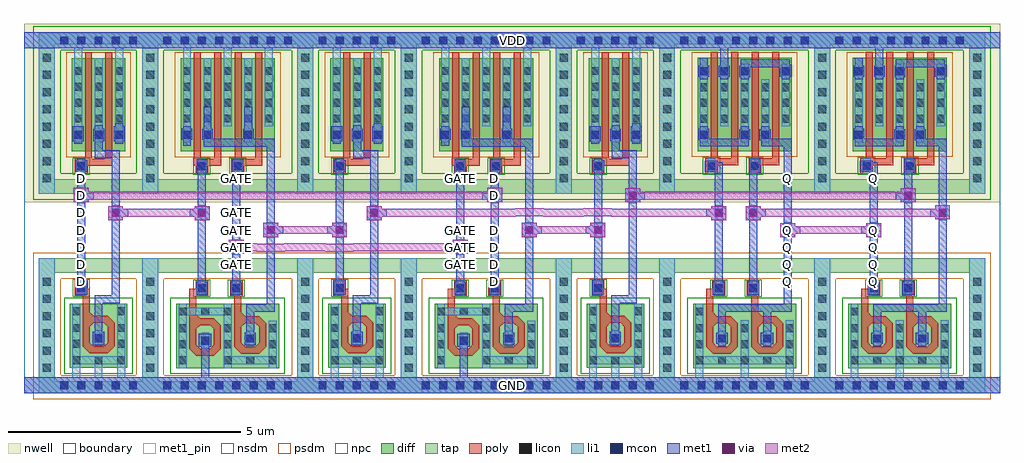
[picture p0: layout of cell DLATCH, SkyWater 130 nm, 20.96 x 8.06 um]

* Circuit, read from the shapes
.subckt DLATCH D GATE GND Q VDD
XM1 GND D n1 GND sky130_fd_pr__nfet_01v8 w=2.56 l=0.1477
XM2 n2 n1 GND GND sky130_fd_pr__nfet_01v8 w=2.6 l=0.147
XM3 n2 GATE n3 GND sky130_fd_pr__nfet_01v8 w=2.56 l=0.1471
XM4 GND n3 n4 GND sky130_fd_pr__nfet_01v8 w=2.56 l=0.1478
XM5 n5 GATE GND GND sky130_fd_pr__nfet_01v8 w=2.6 l=0.147
XM6 n5 D n6 GND sky130_fd_pr__nfet_01v8 w=2.56 l=0.1472
XM7 GND n6 n7 GND sky130_fd_pr__nfet_01v8 w=2.56 l=0.1478
XM8 GND n4 Q GND sky130_fd_pr__nfet_01v8 w=2.56 l=0.1455
XM9 GND n8 Q GND sky130_fd_pr__nfet_01v8 w=2.56 l=0.1471
XM10 GND Q n8 GND sky130_fd_pr__nfet_01v8 w=2.56 l=0.1455
XM11 GND n7 n8 GND sky130_fd_pr__nfet_01v8 w=2.56 l=0.1471
XM12 n1 D VDD VDD sky130_fd_pr__pfet_01v8 w=2 l=0.15 m=2
XM13 n3 n1 VDD VDD sky130_fd_pr__pfet_01v8 w=2 l=0.15 m=2
XM14 n3 GATE VDD VDD sky130_fd_pr__pfet_01v8 w=2 l=0.15 m=2
XM15 n4 n3 VDD VDD sky130_fd_pr__pfet_01v8 w=2 l=0.15 m=2
XM16 n6 GATE VDD VDD sky130_fd_pr__pfet_01v8 w=2 l=0.15 m=2
XM17 n6 D VDD VDD sky130_fd_pr__pfet_01v8 w=2 l=0.15 m=2
XM18 n7 n6 VDD VDD sky130_fd_pr__pfet_01v8 w=2 l=0.15 m=2
XM19 VDD n4 n9 VDD sky130_fd_pr__pfet_01v8 w=2 l=0.15 m=2
XM20 Q n8 n9 VDD sky130_fd_pr__pfet_01v8 w=2 l=0.15 m=2
XM21 VDD Q n10 VDD sky130_fd_pr__pfet_01v8 w=2 l=0.15 m=2
XM22 n8 n7 n10 VDD sky130_fd_pr__pfet_01v8 w=2 l=0.15 m=2
.ends

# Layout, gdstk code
from math import pi, radians
import gdstk
lib = gdstk.Library(unit=1e-6, precision=1e-09)
def R(c, l, rs):  # rectangles x0, y0, x1, y1
    for r in rs: c.add(gdstk.rectangle(r[:2], r[2:], *l))
def A(c, l, x, y, w, h, nx, ny, dx, dy):  # array of equal rectangles
    R(c, l, [(x+i*dx, y+j*dy, x+i*dx+w, y+j*dy+h) for i in range(nx) for j in range(ny)])
def P(c, l, *ps):  # polygons
    for p in ps: c.add(gdstk.Polygon(p, *l))
nwell = (64, 20)
diff = (65, 20)
tap = (65, 44)
poly = (66, 20)
licon = (66, 44)
li1 = (67, 20)
mcon = (67, 44)
met1_pin = (68, 16)
met1 = (68, 20)
via = (68, 44)
met2 = (69, 20)
nsdm = (93, 44)
psdm = (94, 20)
npc = (95, 20)
boundary = (235, 4)

diff_ring_side = lib.new_cell('diff_ring_side')
R(diff_ring_side, nwell, [(-0.435,3.93,0.435,7.75)])
R(diff_ring_side, tap, [(-0.17,-0.17,0.17,2.72), (-0.17,4.11,0.17,7.57)])
A(diff_ring_side, licon, -0.085, 0.285, 0.17, 0.17, 1, 6, 0, 0.37)
A(diff_ring_side, licon, -0.085, 4.355, 0.17, 0.17, 1, 8, 0, 0.37)
R(diff_ring_side, li1, [(-0.17,-0.17,0.17,2.72), (-0.17,4.11,0.17,7.57)])
R(diff_ring_side, met1, [(-0.17,-0.17,0.17,0.17), (-0.17,7.23,0.17,7.57)])
R(diff_ring_side, nsdm, [(-0.295,3.985,0.295,7.695)])
R(diff_ring_side, psdm, [(-0.295,-0.295,0.295,2.845)])

nmos_bottom = lib.new_cell('nmos_bottom')
R(nmos_bottom, diff, [(0,0,1.24,1.38)])
R(nmos_bottom, poly, [(0.43,0.27,0.81,0.42), (0.28,0.42,0.43,0.925), (0.81,0.42,0.96,0.925), (0.43,0.925,0.96,1.075), (0.81,1.075,0.96,1.51)])
P(nmos_bottom, poly, [(0.73,1.075),(0.81,1.075),(0.81,1.155)],
  [(0.28,0.925),(0.43,0.925),(0.43,1.075)],
  [(0.43,0.845),(0.43,0.925),(0.51,0.925)],
  [(0.73,0.925),(0.81,0.925),(0.81,0.845)],
  [(0.43,0.5),(0.43,0.42),(0.51,0.42)],
  [(0.73,0.42),(0.81,0.42),(0.81,0.5)],
  [(0.28,0.42),(0.43,0.42),(0.43,0.27)],
  [(0.81,0.27),(0.81,0.42),(0.96,0.42)])
A(nmos_bottom, licon, 0.05, 1.13, 0.17, 0.17, 3, 1, 0.485, 0)
R(nmos_bottom, licon, [(0.05,0.08,0.22,0.25), (1.02,0.08,1.19,0.25), (0.05,0.43,0.22,0.6), (1.02,0.43,1.19,0.6), (0.535,0.505,0.705,0.675), (0.05,0.77,0.22,0.94), (1.02,0.77,1.19,0.94)])
R(nmos_bottom, li1, [(0.05,0,0.22,1.13), (1.02,0,1.19,1.13), (0.535,0.425,0.705,0.755), (0.05,1.13,1.19,1.3), (0.05,1.3,0.22,1.38), (1.02,1.3,1.19,1.38)])
R(nmos_bottom, nsdm, [(-0.125,-0.125,1.365,1.505)])

pmos2 = lib.new_cell('pmos2')
R(pmos2, nwell, [(0.26,-2.18,1.76,0.18)])
R(pmos2, diff, [(0.44,-2,1.58,0)])
R(pmos2, poly, [(0.72,-2.305,1.31,-2.155), (0.72,-2.155,0.87,0.13), (1.16,-2.155,1.31,0.13)])
A(pmos2, licon, 0.49, -1.38, 0.17, 0.17, 3, 4, 0.44, 0.34)
R(pmos2, li1, [(0.49,-1.465,0.66,0.21), (0.93,-1.465,1.1,0), (1.37,-1.465,1.54,0.21)])
R(pmos2, psdm, [(0.315,-2.125,1.705,0.125)])

poly_li1_contact = lib.new_cell('poly_li1_contact')
R(poly_li1_contact, poly, [(-0.16,-0.14,0.17,0.13)])
R(poly_li1_contact, licon, [(-0.08,-0.09,0.09,0.08)])
R(poly_li1_contact, li1, [(-0.16,-0.09,0.17,0.08)])
R(poly_li1_contact, npc, [(-0.18,-0.19,0.19,0.18)])

nmos_top_trim1 = lib.new_cell('nmos_top_trim1')
R(nmos_top_trim1, diff, [(0,0,1.24,1.38)])
R(nmos_top_trim1, poly, [(0.43,0.31,0.81,0.46), (0.28,0.46,0.43,0.965), (0.81,0.46,0.96,0.965), (0.43,0.965,0.96,1.115), (0.81,1.115,0.96,1.545)])
P(nmos_top_trim1, poly, [(0.73,1.115),(0.81,1.115),(0.81,1.195)],
  [(0.28,0.965),(0.43,0.965),(0.43,1.115)],
  [(0.43,0.885),(0.43,0.965),(0.51,0.965)],
  [(0.73,0.965),(0.81,0.965),(0.81,0.885)],
  [(0.43,0.54),(0.43,0.46),(0.51,0.46)],
  [(0.73,0.46),(0.81,0.46),(0.81,0.54)],
  [(0.28,0.46),(0.43,0.46),(0.43,0.31)],
  [(0.81,0.31),(0.81,0.46),(0.96,0.46)])
A(nmos_top_trim1, licon, 0.05, 0.08, 0.17, 0.17, 3, 1, 0.485, 0)
R(nmos_top_trim1, licon, [(0.05,0.43,0.22,0.6), (1.02,0.43,1.19,0.6), (0.535,0.55,0.705,0.72), (0.05,0.77,0.22,0.94), (1.02,0.77,1.19,0.94), (1.02,1.13,1.19,1.3)])
R(nmos_top_trim1, li1, [(0.05,0,0.22,0.08), (1.02,0,1.19,0.08), (0.05,0.08,1.19,0.25), (0.05,0.25,0.22,1.02), (1.02,0.25,1.19,1.38), (0.535,0.47,0.705,0.805)])
R(nmos_top_trim1, nsdm, [(-0.125,-0.125,1.365,1.505)])

nand2x1_pcell = lib.new_cell('nand2x1_pcell')
R(nand2x1_pcell, nwell, [(0.435,3.93,2.895,7.75)])
R(nand2x1_pcell, diff, [(1.115,5.265,1.345,5.5), (1.995,5.265,2.225,5.5), (0.705,5.295,0.875,5.465)])
R(nand2x1_pcell, tap, [(0.17,-0.17,3.16,-0.15), (0.155,-0.15,3.175,0.085), (0.155,2.4,0.17,2.41), (3.16,2.4,3.175,2.41), (0.155,2.41,3.175,2.71), (0.17,2.71,3.16,2.72), (0.17,4.11,3.16,4.42), (0.17,7.315,3.16,7.57)])
R(nand2x1_pcell, poly, [(0.84,1.875,0.99,2.065), (1.81,1.91,1.96,1.915)])
A(nand2x1_pcell, licon, 0.285, -0.085, 0.17, 0.17, 8, 2, 0.37, 7.4)
R(nand2x1_pcell, licon, [(0.705,5.295,0.875,5.465), (1.145,5.295,1.315,5.465), (2.025,5.295,2.195,5.465)])
R(nand2x1_pcell, li1, [(0.165,-0.17,3.295,0.17), (1.095,0.87,1.265,1.04), (2.065,0.915,2.235,1.085), (1.025,1.995,1.195,2.165), (1.765,1.995,1.935,2.165), (1.025,4.615,1.195,4.785), (1.795,4.615,1.965,4.785), (0.705,5.215,0.875,5.61), (1.145,5.215,1.315,5.61), (2.025,5.215,2.195,5.61), (-0.17,7.23,3.17,7.57)])
A(nand2x1_pcell, mcon, 0.285, -0.085, 0.17, 0.17, 8, 2, 0.37, 7.4)
R(nand2x1_pcell, mcon, [(1.095,0.87,1.265,1.04), (2.065,0.915,2.235,1.085), (1.025,1.995,1.195,2.165), (1.765,1.995,1.935,2.165), (1.025,4.615,1.195,4.785), (1.795,4.615,1.965,4.785), (0.705,5.295,0.875,5.465), (1.145,5.295,1.315,5.465), (2.025,5.295,2.195,5.465)])
R(nand2x1_pcell, met1, [(-0.17,-0.17,3.5,0.17), (1.095,0.17,1.265,0.825), (1.045,0.825,1.31,1.1), (2.035,0.855,2.265,1.12), (2.065,1.12,2.235,1.57), (2.065,1.57,2.675,1.74), (2.505,1.74,2.675,5.115), (0.99,1.935,1.23,2.205), (1.735,1.935,1.97,2.205), (1.025,2.205,1.195,4.56), (1.765,2.205,1.935,4.555), (1.765,4.555,1.97,4.58), (0.995,4.56,1.23,4.845), (1.765,4.58,1.995,4.845), (1.145,5.115,2.675,5.265), (0.705,5.135,0.875,5.265), (0.675,5.265,0.905,5.5), (1.115,5.265,2.675,5.285), (1.115,5.285,1.345,5.5), (1.995,5.285,2.225,5.5), (0.705,5.5,0.875,5.555), (1.145,5.5,1.315,5.98), (2.025,5.5,2.195,5.98), (-0.17,7.23,3.5,7.57)])
R(nand2x1_pcell, nsdm, [(0.045,3.985,3.285,4.545), (0.045,7.19,3.285,7.695)])
R(nand2x1_pcell, psdm, [(0.045,-0.295,3.285,-0.275), (0.03,-0.275,3.3,0.21), (0.03,2.275,0.295,2.285), (3.035,2.275,3.3,2.285), (0.03,2.285,3.3,2.835), (0.045,2.835,3.285,2.845), (0.99,5.14,1.47,5.17), (1.87,5.14,2.35,5.625), (0.58,5.17,1.47,5.59), (0.99,5.59,1.47,5.625)])
nand2x1_pcell.add(gdstk.Reference(diff_ring_side, (0,0)))
nand2x1_pcell.add(gdstk.Reference(nmos_bottom, (1.8,0.365), rotation=pi, x_reflection=True))
nand2x1_pcell.add(gdstk.Reference(pmos2, (0.215,7.02)))
nand2x1_pcell.add(gdstk.Reference(poly_li1_contact, (1.115,4.705), rotation=3*pi/2))
nand2x1_pcell.add(gdstk.Reference(poly_li1_contact, (1.115,2.085), rotation=3*pi/2))
nand2x1_pcell.add(gdstk.Reference(nmos_top_trim1, (2.77,0.365), rotation=pi, x_reflection=True))
nand2x1_pcell.add(gdstk.Reference(pmos2, (1.095,7.02)))
nand2x1_pcell.add(gdstk.Reference(poly_li1_contact, (1.845,2.075), rotation=pi/2))
nand2x1_pcell.add(gdstk.Reference(poly_li1_contact, (1.885,4.705), rotation=3*pi/2))
nand2x1_pcell.add(gdstk.Reference(diff_ring_side, (3.33,0)))

li1_m1_contact = lib.new_cell('li1_M1_contact')
R(li1_m1_contact, li1, [(-0.085,-0.165,0.085,0.165)])
R(li1_m1_contact, mcon, [(-0.085,-0.085,0.085,0.085)])
R(li1_m1_contact, met1, [(-0.115,-0.115,0.115,-0.085), (-0.265,-0.085,0.145,0.085), (-0.115,0.085,0.115,0.115)])

nmos_top = lib.new_cell('nmos_top')
R(nmos_top, diff, [(0,0,1.23,1.38)])
R(nmos_top, poly, [(0.42,0.31,0.8,0.46), (0.27,0.46,0.42,0.965), (0.8,0.46,0.95,0.965), (0.42,0.965,0.95,1.115), (0.8,1.115,0.95,1.54)])
P(nmos_top, poly, [(0.72,1.115),(0.8,1.115),(0.8,1.195)],
  [(0.27,0.965),(0.42,0.965),(0.42,1.115)],
  [(0.42,0.885),(0.42,0.965),(0.5,0.965)],
  [(0.72,0.965),(0.8,0.965),(0.8,0.885)],
  [(0.42,0.54),(0.42,0.46),(0.5,0.46)],
  [(0.72,0.46),(0.8,0.46),(0.8,0.54)],
  [(0.27,0.46),(0.42,0.46),(0.42,0.31)],
  [(0.8,0.31),(0.8,0.46),(0.95,0.46)])
R(nmos_top, licon, [(0.04,0.08,0.21,0.25), (0.53,0.08,0.7,0.25), (1.01,0.08,1.18,0.25), (0.04,0.43,0.21,0.6), (1.01,0.43,1.18,0.6), (0.53,0.55,0.7,0.72), (0.04,0.77,0.21,0.94), (1.01,0.77,1.18,0.94), (0.04,1.13,0.21,1.3), (1.01,1.13,1.18,1.3)])
R(nmos_top, li1, [(0.04,0,0.21,0.08), (1.01,0,1.18,0.08), (0.04,0.08,1.18,0.25), (0.04,0.25,0.21,1.38), (1.01,0.25,1.18,1.38), (0.53,0.47,0.7,0.805)])
R(nmos_top, nsdm, [(-0.125,-0.125,1.355,1.505)])

invx1_pcell = lib.new_cell('invx1_pcell')
R(invx1_pcell, nwell, [(-0.435,3.93,2.655,7.75)])
A(invx1_pcell, diff, 0.59, 5.295, 0.17, 0.17, 3, 1, 0.44, 0)
R(invx1_pcell, tap, [(0.17,-0.17,2.05,0.085), (0.17,2.41,2.05,2.72), (0.17,4.11,2.05,4.42), (0.17,7.315,2.05,7.57)])
R(invx1_pcell, poly, [(0.775,1.905,0.925,2.065)])
A(invx1_pcell, licon, 0.285, -0.085, 0.17, 0.17, 5, 2, 0.37, 7.4)
A(invx1_pcell, licon, 0.59, 5.295, 0.17, 0.17, 3, 1, 0.44, 0)
A(invx1_pcell, li1, 0.59, 5.215, 0.17, 0.37, 3, 1, 0.44, 0)
R(invx1_pcell, li1, [(-0.17,-0.17,2.33,0.17), (0.545,0.17,0.715,0.42), (1.025,0.17,1.195,0.45), (1.515,0.17,1.685,0.45), (1.025,0.92,1.195,1.09), (0.655,2,0.825,2.17), (0.655,4.615,0.825,4.785), (-0.17,7.23,2.39,7.57)])
A(invx1_pcell, mcon, 0.285, -0.085, 0.17, 0.17, 5, 2, 0.37, 7.4)
A(invx1_pcell, mcon, 0.59, 5.295, 0.17, 0.17, 3, 1, 0.44, 0)
R(invx1_pcell, mcon, [(1.025,0.92,1.195,1.09), (0.655,2,0.825,2.17), (0.655,4.615,0.825,4.785)])
R(invx1_pcell, met1, [(-0.17,-0.17,2.39,0.17), (0.99,0.86,1.23,1.15), (1.025,1.15,1.195,1.755), (1.025,1.755,1.565,1.925), (1.395,1.925,1.565,4.875), (0.615,1.94,0.865,2.25), (0.655,2.25,0.825,4.58), (0.62,4.58,0.87,4.83), (0.655,4.83,0.825,4.865), (1.03,4.875,1.565,5.045), (1.03,5.045,1.2,5.24), (0.59,5.185,0.76,5.24), (1.47,5.185,1.64,5.24), (0.56,5.24,0.795,5.555), (1,5.24,1.23,5.505), (1.44,5.24,1.675,5.555), (1.03,5.505,1.2,5.575), (1.47,5.555,1.64,5.62), (-0.17,7.23,2.39,7.57)])
R(invx1_pcell, nsdm, [(0.045,3.985,2.175,4.545), (0.045,7.19,2.175,7.695)])
R(invx1_pcell, psdm, [(0.045,-0.295,2.175,0.21), (0.045,2.285,2.175,2.845), (0.465,5.17,1.765,5.59)])
invx1_pcell.add(gdstk.Reference(poly_li1_contact, (0.735,2.08), rotation=pi/2))
invx1_pcell.add(gdstk.Reference(poly_li1_contact, (0.745,4.705), rotation=3*pi/2))
invx1_pcell.add(gdstk.Reference(pmos2, (0.1,7.02)))
invx1_pcell.add(gdstk.Reference(nmos_top, (1.725,0.37), rotation=pi, x_reflection=True))
invx1_pcell.add(gdstk.Reference(diff_ring_side, (0,0)))
invx1_pcell.add(gdstk.Reference(diff_ring_side, (2.22,0)))

and2x1_pcell = lib.new_cell('and2x1_pcell')
R(and2x1_pcell, met1, [(2.43,3.17,2.75,3.49), (3.905,3.17,4.225,3.49)])
R(and2x1_pcell, via, [(2.515,3.255,2.665,3.405), (3.99,3.255,4.14,3.405)])
R(and2x1_pcell, met2, [(2.43,3.17,2.75,3.245), (3.905,3.17,4.225,3.245), (2.43,3.245,4.225,3.415), (2.43,3.415,2.75,3.49), (3.905,3.415,4.225,3.49)])
and2x1_pcell.add(gdstk.Reference(nand2x1_pcell, (0,0)))
and2x1_pcell.add(gdstk.Reference(li1_m1_contact, (4.07,3.33)))
and2x1_pcell.add(gdstk.Reference(li1_m1_contact, (2.59,3.33), rotation=pi))
and2x1_pcell.add(gdstk.Reference(invx1_pcell, (3.33,0)))

pmos2_1 = lib.new_cell('pmos2_1')
R(pmos2_1, nwell, [(0.26,-2.175,1.76,0.185)])
R(pmos2_1, diff, [(0.44,-1.995,1.58,0.005)])
R(pmos2_1, poly, [(0.72,-2.3,1.31,-2.15), (0.72,-2.15,0.87,0.135), (1.16,-2.15,1.31,0.135)])
A(pmos2_1, licon, 0.49, -1.385, 0.17, 0.17, 3, 3, 0.44, 0.34)
A(pmos2_1, li1, 0.49, -1.465, 0.17, 1.01, 3, 1, 0.44, 0)
R(pmos2_1, psdm, [(0.315,-2.12,1.705,0.13)])

nmos_top_trim2 = lib.new_cell('nmos_top_trim2')
R(nmos_top_trim2, diff, [(0,0,1.24,1.38)])
R(nmos_top_trim2, poly, [(0.43,0.31,0.81,0.46), (0.28,0.46,0.43,0.89), (0.81,0.46,0.96,0.89), (0.28,0.89,0.435,0.965), (0.805,0.89,0.96,0.965), (0.43,0.965,0.96,1.115), (0.81,1.115,0.96,1.545)])
P(nmos_top_trim2, poly, [(0.73,1.115),(0.81,1.115),(0.81,1.195)],
  [(0.28,0.965),(0.43,0.965),(0.43,1.115)],
  [(0.435,0.89),(0.435,0.965),(0.51,0.965)],
  [(0.73,0.965),(0.805,0.965),(0.805,0.89)],
  [(0.43,0.54),(0.43,0.46),(0.51,0.46)],
  [(0.73,0.46),(0.81,0.46),(0.81,0.54)],
  [(0.28,0.46),(0.43,0.46),(0.43,0.31)],
  [(0.81,0.31),(0.81,0.46),(0.96,0.46)])
A(nmos_top_trim2, licon, 0.05, 0.08, 0.17, 0.17, 3, 1, 0.485, 0)
R(nmos_top_trim2, licon, [(0.05,0.43,0.22,0.6), (1.02,0.43,1.19,0.6), (0.535,0.55,0.705,0.72), (0.05,0.77,0.22,0.94), (1.02,0.77,1.19,0.94)])
R(nmos_top_trim2, li1, [(0.05,0,0.22,0.08), (1.02,0,1.19,0.08), (0.05,0.08,1.19,0.25), (0.05,0.25,0.22,1.025), (1.02,0.25,1.19,1.025), (0.535,0.47,0.705,0.805)])
R(nmos_top_trim2, nsdm, [(-0.125,-0.125,1.365,1.505)])

nor2x1_pcell = lib.new_cell('nor2x1_pcell')
R(nor2x1_pcell, nwell, [(0.435,3.93,2.895,7.75)])
A(nor2x1_pcell, diff, 0.705, 6.655, 0.17, 0.17, 3, 1, 0.44, 0)
R(nor2x1_pcell, diff, [(0.705,5.215,0.875,5.465), (1.585,5.215,1.755,5.25), (2.025,5.215,2.195,5.25), (1.585,5.295,1.755,5.465), (2.025,5.295,2.195,5.465), (2.465,6.655,2.635,6.825)])
R(nor2x1_pcell, tap, [(0.17,-0.17,3.16,0.085), (0.17,2.41,3.16,2.72), (0.17,4.11,3.16,4.42), (0.17,7.315,3.16,7.57)])
R(nor2x1_pcell, poly, [(0.84,1.875,0.99,2.065), (1.81,1.91,1.96,1.915)])
A(nor2x1_pcell, licon, 0.285, -0.085, 0.17, 0.17, 8, 2, 0.37, 7.4)
A(nor2x1_pcell, licon, 0.705, 6.655, 0.17, 0.17, 3, 1, 0.44, 0)
R(nor2x1_pcell, licon, [(0.705,5.295,0.875,5.465), (1.585,5.295,1.755,5.465), (2.025,5.295,2.195,5.465), (2.465,6.655,2.635,6.825)])
R(nor2x1_pcell, li1, [(0.165,-0.17,3.285,0.17), (0.61,0.17,0.78,0.785), (1.58,0.17,1.75,0.445), (2.55,0.17,2.72,0.445), (1.095,0.915,1.265,1.085), (2.065,0.915,2.235,1.085), (1.025,1.995,1.195,2.165), (1.765,1.995,1.935,2.165), (0.87,4.62,1.04,4.79), (1.8,4.62,1.97,4.79), (0.705,5.215,0.875,5.975), (1.585,5.215,1.755,5.975), (2.025,5.215,2.195,5.975), (1.145,6.145,1.315,7.025), (1.585,6.145,1.755,6.905), (2.465,6.145,2.635,6.905), (0.705,6.56,0.875,7.025), (-0.17,7.23,3.335,7.57)])
A(nor2x1_pcell, mcon, 0.285, -0.085, 0.17, 0.17, 8, 2, 0.37, 7.4)
A(nor2x1_pcell, mcon, 0.705, 6.655, 0.17, 0.17, 3, 1, 0.44, 0)
R(nor2x1_pcell, mcon, [(1.095,0.915,1.265,1.085), (2.065,0.915,2.235,1.085), (1.025,1.995,1.195,2.165), (1.765,1.995,1.935,2.165), (0.87,4.62,1.04,4.79), (1.8,4.62,1.97,4.79), (0.705,5.295,0.875,5.465), (1.585,5.295,1.755,5.465), (2.025,5.295,2.195,5.465), (2.465,6.655,2.635,6.825)])
R(nor2x1_pcell, met1, [(0.17,-0.17,3.16,0.17), (1.095,0.835,1.265,0.885), (2.065,0.835,2.235,0.88), (2.015,0.88,2.28,1.12), (1.055,0.885,1.3,1.125), (2.065,1.12,2.235,1.57), (1.095,1.125,1.265,1.57), (1.095,1.57,2.675,1.74), (2.505,1.74,2.675,5.125), (0.985,1.935,1.23,2.215), (1.72,1.935,1.975,2.215), (1.025,2.215,1.195,4.585), (1.765,2.215,1.935,4.56), (1.765,4.56,2.005,4.855), (0.81,4.585,1.195,4.79), (0.81,4.79,1.085,4.82), (0.705,5.125,1.755,5.265), (2.025,5.125,2.675,5.26), (1.985,5.26,2.675,5.295), (0.675,5.265,1.79,5.295), (0.675,5.295,0.905,5.5), (1.55,5.295,1.79,5.495), (1.985,5.295,2.225,5.495), (1.585,5.495,1.755,5.555), (2.025,5.495,2.195,5.555), (0.705,5.5,0.875,5.555), (0.705,6.565,0.875,6.625), (1.145,6.565,1.315,6.625), (1.585,6.565,1.755,6.615), (2.465,6.565,2.635,6.62), (1.555,6.615,1.785,6.825), (2.42,6.62,2.665,6.825), (0.675,6.625,0.905,6.86), (1.115,6.625,1.345,6.855), (1.555,6.825,2.665,6.855), (1.145,6.855,1.315,7.23), (1.585,6.855,2.665,6.875), (0.705,6.86,0.875,7.025), (1.585,6.875,2.635,6.995), (0.17,7.23,3.16,7.57)])
R(nor2x1_pcell, nsdm, [(0.045,3.985,3.285,4.545), (0.045,7.19,3.285,7.695)])
R(nor2x1_pcell, psdm, [(0.045,-0.295,3.285,0.21), (0.045,2.285,3.285,2.845), (0.58,5.09,1,5.59), (1.46,5.09,2.32,5.59), (0.58,6.53,1.88,6.95), (2.34,6.53,2.76,6.95)])
nor2x1_pcell.add(gdstk.Reference(diff_ring_side, (0,0)))
nor2x1_pcell.add(gdstk.Reference(nmos_top_trim1, (1.8,0.365), rotation=pi, x_reflection=True))
nor2x1_pcell.add(gdstk.Reference(pmos2_1, (0.215,7.02)))
nor2x1_pcell.add(gdstk.Reference(poly_li1_contact, (0.96,4.71), rotation=3*pi/2))
nor2x1_pcell.add(gdstk.Reference(poly_li1_contact, (1.115,2.085), rotation=3*pi/2))
nor2x1_pcell.add(gdstk.Reference(nmos_top_trim2, (2.77,0.365), rotation=pi, x_reflection=True))
nor2x1_pcell.add(gdstk.Reference(pmos2_1, (1.095,7.02)))
nor2x1_pcell.add(gdstk.Reference(poly_li1_contact, (1.845,2.075), rotation=pi/2))
nor2x1_pcell.add(gdstk.Reference(poly_li1_contact, (1.89,4.71), rotation=3*pi/2))
nor2x1_pcell.add(gdstk.Reference(diff_ring_side, (3.33,0)))

dlatch = lib.new_cell('DLATCH')
R(dlatch, nwell, [(0,4.11,20.96,7.94)])
R(dlatch, tap, [(0.32,0,20.64,0.05), (0.32,7.75,20.64,7.76)])
R(dlatch, li1, [(0,0,20.96,0.35), (0,7.41,20.96,7.76)])
A(dlatch, met1_pin, 1.145, 2.315, 0.17, 0.17, 1, 7, 0, 0.37)
A(dlatch, met1_pin, 10.025, 2.315, 0.17, 0.17, 1, 4, 0, 0.37)
A(dlatch, met1_pin, 16.315, 2.315, 0.17, 0.17, 1, 4, 0, 0.37)
A(dlatch, met1_pin, 18.165, 2.315, 0.17, 0.17, 1, 4, 0, 0.37)
A(dlatch, met1_pin, 4.475, 2.685, 0.17, 0.17, 1, 4, 0, 0.37)
A(dlatch, met1_pin, 9.285, 2.685, 0.17, 0.17, 1, 3, 0, 0.37)
R(dlatch, met1_pin, [(0,0,20.96,0.35), (10.025,4.165,10.195,4.335), (4.475,4.535,4.645,4.705), (9.285,4.535,9.455,4.705), (10.025,4.535,10.195,4.705), (16.315,4.535,16.485,4.705), (18.165,4.535,18.335,4.705), (0,7.41,20.96,7.76)])
A(dlatch, met1, 1.145, 2.315, 0.17, 0.17, 1, 5, 0, 0.37)
A(dlatch, met1, 10.025, 2.315, 0.17, 0.17, 1, 4, 0, 0.37)
A(dlatch, met1, 16.315, 2.315, 0.17, 0.17, 1, 3, 0, 0.37)
A(dlatch, met1, 18.165, 2.315, 0.17, 0.17, 1, 3, 0, 0.37)
R(dlatch, met1, [(0,0,20.96,0.35), (4.475,2.685,4.645,2.855), (9.285,2.685,9.455,2.855), (4.395,3,4.715,3.305), (9.21,3,9.53,3.305), (16.24,3.35,16.56,3.655), (18.09,3.35,18.41,3.655), (4.475,3.425,4.645,3.595), (9.285,3.425,9.455,3.595), (1.805,3.72,2.125,4.025), (3.67,3.72,3.99,4.025), (7.36,3.72,7.68,4.025), (14.76,3.72,15.08,4.025), (15.5,3.72,15.82,4.025), (19.565,3.74,19.885,4.045), (4.475,3.795,4.645,3.965), (12.91,4.105,13.23,4.41), (18.83,4.105,19.15,4.41), (1.07,4.11,1.39,4.415), (9.95,4.11,10.27,4.415), (1.145,4.535,1.315,4.705), (4.475,4.535,4.645,4.705), (9.285,4.535,9.455,4.705), (10.025,4.535,10.195,4.705), (16.315,4.535,16.485,4.705), (18.165,4.535,18.335,4.705), (0,7.41,20.96,7.76)])
R(dlatch, via, [(4.48,3.07,4.63,3.22), (9.295,3.07,9.445,3.22), (16.325,3.42,16.475,3.57), (18.175,3.42,18.325,3.57), (1.89,3.79,2.04,3.94), (3.755,3.79,3.905,3.94), (7.445,3.79,7.595,3.94), (14.845,3.79,14.995,3.94), (15.585,3.79,15.735,3.94), (19.65,3.81,19.8,3.96), (12.995,4.175,13.145,4.325), (18.915,4.175,19.065,4.325), (1.155,4.18,1.305,4.33), (10.035,4.18,10.185,4.33)])
R(dlatch, met2, [(4.395,3,4.715,3.055), (9.21,3,9.53,3.055), (5,3.04,5.6,3.055), (6.475,3.04,7.075,3.055), (4.395,3.055,9.53,3.21), (4.395,3.21,5,3.225), (5.6,3.21,6.475,3.225), (7.075,3.21,9.53,3.225), (4.395,3.225,4.715,3.305), (9.21,3.225,9.53,3.305), (16.24,3.35,16.56,3.425), (18.09,3.35,18.41,3.425), (16.24,3.425,18.41,3.595), (16.24,3.595,16.56,3.655), (18.09,3.595,18.41,3.655), (1.805,3.72,2.125,3.795), (3.67,3.72,3.99,3.795), (7.36,3.72,7.68,3.795), (14.76,3.72,15.08,3.795), (15.5,3.72,15.82,3.795), (19.565,3.74,19.885,3.795), (1.805,3.795,3.99,3.965), (7.36,3.795,10.55,3.81), (11.15,3.795,12.025,3.81), (12.625,3.795,15.08,3.81), (15.5,3.795,19.885,3.965), (7.36,3.81,15.08,3.965), (1.805,3.965,2.125,4.025), (3.67,3.965,3.99,4.025), (7.36,3.965,7.68,4.025), (10.55,3.965,11.15,3.975), (12.025,3.965,12.625,3.98), (14.76,3.965,15.08,4.025), (15.5,3.965,15.82,4.025), (19.565,3.965,19.885,4.045), (12.91,4.105,13.23,4.165), (18.83,4.105,19.15,4.165), (1.07,4.11,1.39,4.165), (9.95,4.11,10.27,4.165), (1.07,4.165,10.27,4.335), (12.91,4.165,19.15,4.335), (1.07,4.335,1.39,4.415), (9.95,4.335,10.27,4.415), (12.91,4.335,13.23,4.41), (18.83,4.335,19.15,4.41)])
R(dlatch, nsdm, [(0.195,7.625,20.765,7.885)])
R(dlatch, psdm, [(0.195,-0.125,20.765,0.175)])
R(dlatch, boundary, [(0,0,20.96,7.76)])
dlatch.add(gdstk.Reference(and2x1_pcell, (2.71,0.18)))
dlatch.add(gdstk.Reference(invx1_pcell, (0.49,0.18)))
dlatch.add(gdstk.Reference(li1_m1_contact, (4.56,3.14), rotation=pi))
dlatch.add(gdstk.Reference(li1_m1_contact, (1.23,4.25), rotation=pi))
dlatch.add(gdstk.Reference(li1_m1_contact, (1.97,3.88), rotation=pi))
dlatch.add(gdstk.Reference(li1_m1_contact, (3.82,3.88)))
dlatch.add(gdstk.Reference(and2x1_pcell, (8.26,0.18)))
dlatch.add(gdstk.Reference(li1_m1_contact, (9.37,3.14)))
dlatch.add(gdstk.Reference(li1_m1_contact, (10.11,4.25)))
dlatch.add(gdstk.Reference(li1_m1_contact, (7.52,3.88), rotation=pi))
dlatch.add(gdstk.Reference(li1_m1_contact, (14.92,3.88)))
dlatch.add(gdstk.Reference(li1_m1_contact, (18.99,4.25)))
dlatch.add(gdstk.Reference(li1_m1_contact, (13.07,4.25), rotation=pi))
dlatch.add(gdstk.Reference(li1_m1_contact, (15.66,3.88), rotation=pi))
dlatch.add(gdstk.Reference(li1_m1_contact, (18.25,3.51)))
dlatch.add(gdstk.Reference(li1_m1_contact, (16.4,3.51), rotation=pi))
dlatch.add(gdstk.Reference(nor2x1_pcell, (13.81,0.18)))
dlatch.add(gdstk.Reference(nor2x1_pcell, (17.14,0.18)))
dlatch.add(gdstk.Reference(li1_m1_contact, (19.73,3.88)))
dlatch.add(gdstk.Label('Q', (18.25,4.62), layer=68, texttype=5))
dlatch.add(gdstk.Label('Q', (18.25,3.51), layer=68, texttype=5))
dlatch.add(gdstk.Label('Q', (18.25,3.14), layer=68, texttype=5))
dlatch.add(gdstk.Label('Q', (18.25,2.77), layer=68, texttype=5))
dlatch.add(gdstk.Label('Q', (18.25,2.4), layer=68, texttype=5))
dlatch.add(gdstk.Label('Q', (16.4,4.62), layer=68, texttype=5))
dlatch.add(gdstk.Label('Q', (16.4,2.4), layer=68, texttype=5))
dlatch.add(gdstk.Label('Q', (16.4,2.77), layer=68, texttype=5))
dlatch.add(gdstk.Label('Q', (16.4,3.14), layer=68, texttype=5))
dlatch.add(gdstk.Label('Q', (16.4,3.51), layer=68, texttype=5))
dlatch.add(gdstk.Label('D', (10.11,4.62), layer=68, texttype=5))
dlatch.add(gdstk.Label('D', (10.11,4.25), layer=68, texttype=5))
dlatch.add(gdstk.Label('D', (10.11,3.51), layer=68, texttype=5))
dlatch.add(gdstk.Label('D', (10.11,3.14), layer=68, texttype=5))
dlatch.add(gdstk.Label('D', (10.11,2.77), layer=68, texttype=5))
dlatch.add(gdstk.Label('D', (10.11,2.4), layer=68, texttype=5))
dlatch.add(gdstk.Label('D', (1.23,2.4), layer=68, texttype=5))
dlatch.add(gdstk.Label('D', (1.23,2.77), layer=68, texttype=5))
dlatch.add(gdstk.Label('D', (1.23,3.14), layer=68, texttype=5))
dlatch.add(gdstk.Label('D', (1.23,3.51), layer=68, texttype=5))
dlatch.add(gdstk.Label('D', (1.23,3.88), layer=68, texttype=5))
dlatch.add(gdstk.Label('D', (1.23,4.62), layer=68, texttype=5))
dlatch.add(gdstk.Label('D', (1.23,4.25), layer=68, texttype=5))
dlatch.add(gdstk.Label('GATE', (9.37,4.62), layer=68, texttype=5))
dlatch.add(gdstk.Label('GATE', (9.37,3.51), layer=68, texttype=5))
dlatch.add(gdstk.Label('GATE', (9.37,3.14), layer=68, texttype=5))
dlatch.add(gdstk.Label('GATE', (9.37,2.77), layer=68, texttype=5))
dlatch.add(gdstk.Label('GATE', (4.56,4.62), layer=68, texttype=5))
dlatch.add(gdstk.Label('GATE', (4.56,3.88), layer=68, texttype=5))
dlatch.add(gdstk.Label('GATE', (4.56,3.51), layer=68, texttype=5))
dlatch.add(gdstk.Label('GATE', (4.56,2.77), layer=68, texttype=5))
dlatch.add(gdstk.Label('GATE', (4.56,3.14), layer=68, texttype=5))
dlatch.add(gdstk.Label('VDD', (10.48,7.585), layer=68, texttype=5))
dlatch.add(gdstk.Label('GND', (10.48,0.175), layer=68, texttype=5))

lib.write_gds('DLATCH.gds')
